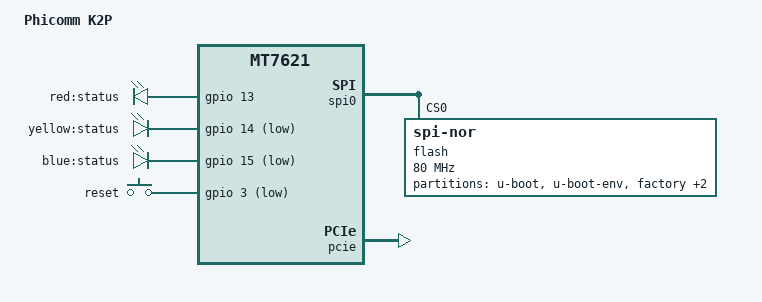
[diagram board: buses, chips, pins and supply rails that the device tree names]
#include "mt7621.dtsi"

#include <dt-bindings/gpio/gpio.h>
#include <dt-bindings/input/input.h>

/ {
	compatible = "phicomm,k2p", "mediatek,mt7621-soc";
	model = "Phicomm K2P";

	aliases {
		led-boot = &led_blue;
		led-failsafe = &led_blue;
		led-running = &led_blue;
		led-upgrade = &led_blue;
	};

	leds {
		compatible = "gpio-leds";

		stat_r {
			label = "red:status";
			gpios = <&gpio 13 GPIO_ACTIVE_HIGH>;
		};

		stat_y {
			label = "yellow:status";
			gpios = <&gpio 14 GPIO_ACTIVE_LOW>;
		};

		led_blue: stat_b {
			label = "blue:status";
			gpios = <&gpio 15 GPIO_ACTIVE_LOW>;
		};
	};

	keys {
		compatible = "gpio-keys";

		reset {
			label = "reset";
			gpios = <&gpio 3 GPIO_ACTIVE_LOW>;
			linux,code = <KEY_RESTART>;
		};
	};
};

&spi0 {
	status = "okay";

	flash@0 {
		compatible = "jedec,spi-nor";
		reg = <0>;
		spi-max-frequency = <80000000>;
		m25p,fast-read;

		partitions {
			compatible = "fixed-partitions";
			#address-cells = <1>;
			#size-cells = <1>;

			partition@0 {
				label = "u-boot";
				reg = <0x0 0x30000>;
				read-only;
			};

			partition@30000 {
				label = "u-boot-env";
				reg = <0x30000 0x10000>;
				read-only;
			};

			factory: partition@40000 {
				label = "factory";
				reg = <0x40000 0x10000>;
				read-only;
			};

			partition@50000 {
				label = "permanent_config";
				reg = <0x50000 0x50000>;
				read-only;
			};

			partition@a0000 {
				compatible = "denx,uimage";
				label = "firmware";
				reg = <0xa0000 0xf60000>;
			};
		};
	};
};

&pcie {
	status = "okay";
};

&pcie0 {
	mt76@0,0 {
		reg = <0x0000 0 0 0 0>;
		mediatek,mtd-eeprom = <&factory 0x0>;
	};
};

&gmac0 {
	nvmem-cells = <&macaddr_factory_e000>;
	nvmem-cell-names = "mac-address";
};

&switch0 {
	ports {
		port@0 {
			status = "okay";
			label = "lan1";
		};

		port@1 {
			status = "okay";
			label = "lan2";
		};

		port@2 {
			status = "okay";
			label = "lan3";
		};

		port@3 {
			status = "okay";
			label = "lan4";
		};

		port@4 {
			status = "okay";
			label = "wan";
			nvmem-cells = <&macaddr_factory_e006>;
			nvmem-cell-names = "mac-address";
		};
	};
};

&state_default {
	gpio {
		groups = "i2c", "jtag";
		function = "gpio";
	};
};

&factory {
	compatible = "nvmem-cells";
	#address-cells = <1>;
	#size-cells = <1>;

	macaddr_factory_e000: macaddr@e000 {
		reg = <0xe000 0x6>;
	};

	macaddr_factory_e006: macaddr@e006 {
		reg = <0xe006 0x6>;
	};
};
